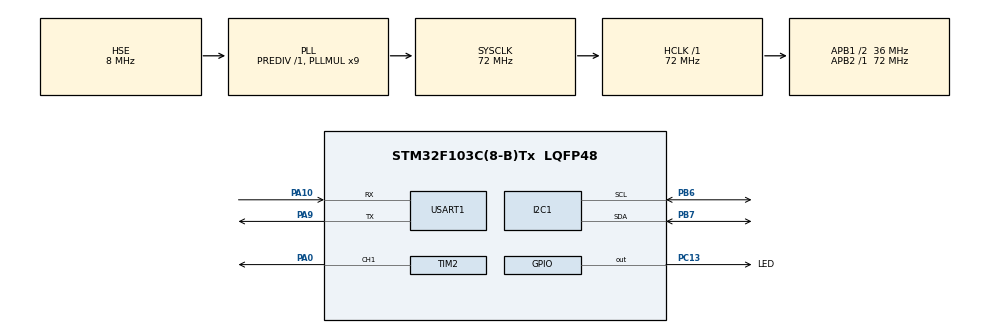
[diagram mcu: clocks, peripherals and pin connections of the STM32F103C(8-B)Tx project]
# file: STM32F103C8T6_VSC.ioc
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Mcu.Family=STM32F1
Mcu.Name=STM32F103C(8-B)Tx
Mcu.Package=LQFP48
NVIC.PriorityGroup=NVIC_PRIORITYGROUP_4
PA0-WKUP.Signal=S_TIM2_CH1_ETR
PA10.Mode=Asynchronous
PA10.Signal=USART1_RX
PA9.Mode=Asynchronous
PA9.Signal=USART1_TX
PB6.Mode=I2C
PB6.Signal=I2C1_SCL
PB7.Mode=I2C
PB7.Signal=I2C1_SDA
PC13-TAMPER-RTC.GPIO_Label=LED
PC13-TAMPER-RTC.Signal=GPIO_Output
PD0-OSC_IN.Mode=HSE-External-Oscillator
PD0-OSC_IN.Signal=RCC_OSC_IN
PD1-OSC_OUT.Mode=HSE-External-Oscillator
PD1-OSC_OUT.Signal=RCC_OSC_OUT
ProjectManager.HeapSize=0x200
ProjectManager.StackSize=0x400
ProjectManager.TargetToolchain=Makefile
RCC.AHBFreq_Value=72000000
RCC.APB1CLKDivider=RCC_HCLK_DIV2
RCC.APB1Freq_Value=36000000
RCC.APB1TimFreq_Value=72000000
RCC.APB2Freq_Value=72000000
RCC.APB2TimFreq_Value=72000000
RCC.HCLKFreq_Value=72000000
RCC.PLLMUL=RCC_PLL_MUL9
RCC.PLLSourceVirtual=RCC_PLLSOURCE_HSE
RCC.SYSCLKFreq_VALUE=72000000
RCC.SYSCLKSource=RCC_SYSCLKSOURCE_PLLCLK
RCC.USBFreq_Value=72000000
SH.S_TIM2_CH1_ETR.0=TIM2_CH1,PWM Generation1 CH1
TIM2.Channel-PWM\ Generation1\ CH1=TIM_CHANNEL_1
TIM2.Period=1999
TIM2.Prescaler=719
USART1.VirtualMode=VM_ASYNC
VP_SYS_VS_ND.Mode=No_Debug
board=custom

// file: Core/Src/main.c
/* USER CODE BEGIN Header */
/**
  ******************************************************************************
  * @file           : main.c
  * @brief          : Main program body
  ******************************************************************************
  * @attention
  *
  * Copyright (c) 2024 STMicroelectronics.
  * All rights reserved.
  *
  * This software is licensed under terms that can be found in the LICENSE file
  * in the root directory of this software component.
  * If no LICENSE file comes with this software, it is provided AS-IS.
  *
  ******************************************************************************
  */
/* USER CODE END Header */
#include "main.h"
#include "i2c.h"
#include "tim.h"
#include "usart.h"
#include "gpio.h"

/* USER CODE BEGIN PD */

#define MPU6500_ADDR 0x68 << 1

/* USER CODE END PD */

void SystemClock_Config(void);

/* USER CODE BEGIN 0 */

// Функція для запису в регістр MPU6500
HAL_StatusTypeDef MPU6500_Write(uint8_t reg, uint8_t data) {
    uint8_t buf[2];
    buf[0] = reg;
    buf[1] = data;
    return HAL_I2C_Master_Transmit(&hi2c1, MPU6500_ADDR, buf, 2, HAL_MAX_DELAY);
}

// Функція для читання з регістра MPU6500
HAL_StatusTypeDef MPU6500_Read(uint8_t reg, uint8_t *data, uint16_t len) {
    HAL_I2C_Master_Transmit(&hi2c1, MPU6500_ADDR, &reg, 1, HAL_MAX_DELAY);
    return HAL_I2C_Master_Receive(&hi2c1, MPU6500_ADDR, data, len, HAL_MAX_DELAY);
}

// Ініціалізація MPU6500
void MPU6500_Init(void) {
    // Приклад ініціалізації: скидання MPU6500
    MPU6500_Write(0x6B, 0x00);  // Регістр PWR_MGMT_1: вимкнути sleep mode
    HAL_Delay(100);
    // Інші потрібні налаштування регістрів
}

void transform(uint8_t *arr, uint16_t *alt_arr)
{
  alt_arr[0] = (arr[0] << 8) | arr[1];
  alt_arr[1] = (arr[2] << 8) | arr[3];
  alt_arr[2] = (arr[4] << 8) | arr[5];
}

// USART функція для передачі даних
int _write(int file, char *ptr, int len) {
    HAL_UART_Transmit(&huart1, (uint8_t*)ptr, len, HAL_MAX_DELAY);
    return len;
}

// Функція для сканування I2C-шини
void I2C_Scanner() {
    printf("Scanning I2C bus...\n");

    // Проходимося по всіх можливих адресах
    for (uint8_t i = 1; i < 128; i++) {
        // Перевірка наявності пристрою на поточній адресі
        if (HAL_I2C_IsDeviceReady(&hi2c1, (uint16_t)(i << 1), 1, 10) == HAL_OK) {
            printf("Device found at 0x%02X\n", i);
        }
    }

    printf("Scanning complete.\n");
}

// kvadrobers are just better

// Функція для форматованого виведення даних акселерометра і гіроскопа
void print_sensor_data(uint16_t *accel_data, uint16_t *giro_data) {
    // Виведення даних акселерометра
    printf("Accelerometer data:\n");
    printf("X: %d, Y: %d, Z: %d\n", accel_data[0], accel_data[1], accel_data[2]);

    // Виведення даних гіроскопа
    printf("Gyroscope data:\n");
    printf("X: %d, Y: %d, Z: %d\n", giro_data[0], giro_data[1], giro_data[2]);
}
/* USER CODE END 0 */

int main(void)
{

  /* MCU Configuration--------------------------------------------------------*/

  /* Reset of all peripherals, Initializes the Flash interface and the Systick. */
  HAL_Init();

  /* Configure the system clock */
  SystemClock_Config();

  /* Initialize all configured peripherals */
  MX_GPIO_Init();
  MX_I2C1_Init();
  MX_USART1_UART_Init();
  MX_TIM2_Init();
  /* USER CODE BEGIN 2 */
  MPU6500_Init(); // Ініціалізація MPU6500

  uint8_t accel_data[6];
  uint16_t accel_data_alt[3];
  uint8_t giro_data[6];
  uint16_t giro_data_alt[3];

  /* USER CODE END 2 */

  /* Infinite loop */
  /* USER CODE BEGIN WHILE */
  while (1)
  {
        // Код для читання/обробки даних з MPU6500

        MPU6500_Read(0x3B, accel_data, 6); // Читання даних акселерометра
        MPU6500_Read(0x43, giro_data, 6);

        transform(accel_data, accel_data_alt);
        transform(giro_data, giro_data_alt);

        print_sensor_data(accel_data_alt, giro_data_alt);

        HAL_Delay(1000); // Пауза для тестування

        //I2C_Scanner();
    /* USER CODE END WHILE */

    /* USER CODE BEGIN 3 */
    uint_8t danloh;
  }
  /* USER CODE END 3 */
}

void SystemClock_Config(void)
{
  RCC_OscInitTypeDef RCC_OscInitStruct = {0};
  RCC_ClkInitTypeDef RCC_ClkInitStruct = {0};

  /** Initializes the RCC Oscillators according to the specified parameters
  * in the RCC_OscInitTypeDef structure.
  */
  RCC_OscInitStruct.OscillatorType = RCC_OSCILLATORTYPE_HSE;
  RCC_OscInitStruct.HSEState = RCC_HSE_ON;
  RCC_OscInitStruct.HSEPredivValue = RCC_HSE_PREDIV_DIV1;
  RCC_OscInitStruct.HSIState = RCC_HSI_ON;
  RCC_OscInitStruct.PLL.PLLState = RCC_PLL_ON;
  RCC_OscInitStruct.PLL.PLLSource = RCC_PLLSOURCE_HSE;
  RCC_OscInitStruct.PLL.PLLMUL = RCC_PLL_MUL9;
  if (HAL_RCC_OscConfig(&RCC_OscInitStruct) != HAL_OK)
  {
    Error_Handler();
  }

  /** Initializes the CPU, AHB and APB buses clocks
  */
  RCC_ClkInitStruct.ClockType = RCC_CLOCKTYPE_HCLK|RCC_CLOCKTYPE_SYSCLK
                              |RCC_CLOCKTYPE_PCLK1|RCC_CLOCKTYPE_PCLK2;
  RCC_ClkInitStruct.SYSCLKSource = RCC_SYSCLKSOURCE_PLLCLK;
  RCC_ClkInitStruct.AHBCLKDivider = RCC_SYSCLK_DIV1;
  RCC_ClkInitStruct.APB1CLKDivider = RCC_HCLK_DIV2;
  RCC_ClkInitStruct.APB2CLKDivider = RCC_HCLK_DIV1;

  if (HAL_RCC_ClockConfig(&RCC_ClkInitStruct, FLASH_LATENCY_2) != HAL_OK)
  {
    Error_Handler();
  }
}

void Error_Handler(void)
{
  __disable_irq();
  while (1)
  {
  }
}
